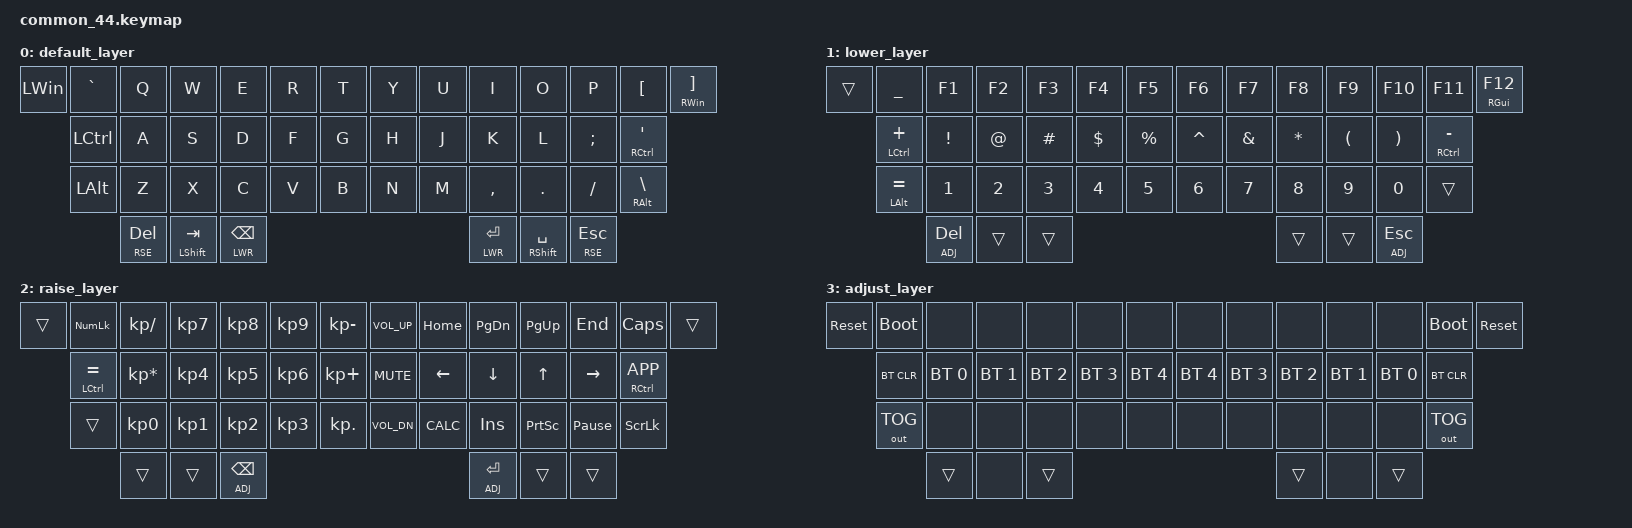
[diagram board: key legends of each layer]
/*
 * Copyright (c) 2020 The ZMK Contributors
 *
 * SPDX-License-Identifier: MIT
 */

#include <behaviors.dtsi>
#include <dt-bindings/zmk/keys.h>
#include <dt-bindings/zmk/bt.h>
#include <dt-bindings/zmk/outputs.h>

#define DEF 0
#define LWR 1
#define RSE 2
#define ADJ 3

&lt { quick-tap-ms = <200>; };
&mt { quick-tap-ms = <200>; };

/ {
        keymap {
                compatible = "zmk,keymap";

                default_layer {
// -----------------------------------------------------------------------------------------
// |  GUI |   ~  |  Q  |  W  |  E  |  R  |  T  |   |  Y  |  U   |  I  |  O  |  P  |  [   | GUI/] |
//        | CTRL |  A  |  S  |  D  |  F  |  G  |   |  H  |  J   |  K  |  L  |  ;  |CTRL/'|
//        | LALT |  Z  |  X  |  C  |  V  |  B  |   |  N  |  M   |  ,  |  .  |  /  | RALT |
//                           | RSE | TAB | LWR |   | LWR |  SPC | RSE |
//                                        (BSPC)
                        bindings = <
   &kp LWIN &kp GRAVE &kp Q &kp W &kp E &kp R &kp T &kp Y         &kp U  &kp I     &kp O   &kp P    &kp LBKT &mt RWIN RBKT
            &kp LCTRL &kp A &kp S &kp D &kp F &kp G &kp H         &kp J  &kp K     &kp L   &kp SEMI &mt RCTRL SQT
            &kp LALT  &kp Z &kp X &kp C &kp V &kp B &kp N         &kp M  &kp COMMA &kp DOT &kp FSLH &mt RALT BSLH
                         &lt RSE DEL &mt LSHFT TAB &lt LWR BSPC &lt LWR RET &mt RSHFT SPACE &lt RSE ESC
                        >;
                };
                lower_layer {
// -----------------------------------------------------------------------------------------
// |     |  _  |  F1 |  F2 |  F3 |  F4 |  F5 |   |  F6 |  F7 |  F8 |  F9 | F10 | F11 | F12 |
//       |  +  |  !  |  @  |  #  |  $  |  %  |   |  ^  |  &  |  *  |  (  |  )  |  -  |
//       |  =  |  1  |  2  |  3  |  4  |  5  |   |  6  |  7  |  8  |  9  |  0  |     |
//                   |     |     |     |     |   |     |     |
                        bindings = <
   &trans &kp UNDER      &kp F1   &kp F2 &kp F3   &kp F4   &kp F5           &kp F6    &kp F7   &kp F8   &kp F9   &kp F10  &kp F11 &mt RGUI F12
          &mt LCTRL PLUS &kp EXCL &kp AT &kp HASH &kp DLLR &kp PRCNT        &kp CARET &kp AMPS &kp STAR &kp LPAR &kp RPAR &mt RCTRL MINUS
          &mt LALT EQUAL &kp N1   &kp N2 &kp N3   &kp N4   &kp N5           &kp N6    &kp N7   &kp N8   &kp N9   &kp N0   &trans
                                              &lt ADJ DEL &trans &trans   &trans &trans &lt ADJ ESC
                        >;
                };

                raise_layer {
// -----------------------------------------------------------------------------------------
// |     | NMLK |  /  |  7  |  8  |  9  |  -  |   | VOLU| HOME   | PGDN | PGUP | END  | CLCK |     |
//       | CTRL |  *  |  4  |  5  |  6  |  +  |   | MUT | LEFT   | DOWN | UP   | RGHT | APP  |
//       |      |  0  |  1  |  2  |  3  |  .  |   | VOLD| K_CALC | INS  | PRSC | PAUS | SCLK |
//                          |     |     | ADJ |   | ADJ |     |     |
                        bindings = <
   &trans &kp KP_NUM      &kp KP_SLASH    &kp KP_N7 &kp KP_N8 &kp KP_N9 &kp KP_MINUS        &kp C_VOL_UP &kp HOME &kp PG_DN &kp PG_UP &kp END &kp CAPS &trans
          &mt LCTRL EQUAL &kp KP_MULTIPLY &kp KP_N4 &kp KP_N5 &kp KP_N6 &kp KP_PLUS         &kp C_MUTE   &kp LEFT &kp DOWN  &kp UP &kp RIGHT  &mt RCTRL K_APP
          &trans          &kp KP_N0       &kp KP_N1 &kp KP_N2 &kp KP_N3 &kp KP_DOT          &kp C_VOL_DN &kp K_CALC  &kp INS  &kp PSCRN &kp PAUSE_BREAK &kp SLCK
                                                           &trans &trans &lt ADJ BSPC   &lt ADJ RET &trans &trans
                        >;
                };
                adjust_layer {
// -----------------------------------------------------------------------------------------
// | RST | BLDR |     |     |     |     |     |   |     |     |     |     |     | BLDR | RST |
//       | BTCLR| BT0 | BT1 | BT2 | BT3 | BT4 |   | BT4 | BT3 | BT2 | BT1 | BT0 | BTCLR|
//       |      |     |     |     |     |     |   |     |     |     |     |     |      |
//                          |     |     |     |   |     |     |     |
                        bindings = <
   &sys_reset &bootloader  &none        &none        &none        &none        &none              &none        &none        &none        &none        &none         &bootloader &sys_reset
              &bt BT_CLR   &bt BT_SEL 0 &bt BT_SEL 1 &bt BT_SEL 2 &bt BT_SEL 3 &bt BT_SEL 4       &bt BT_SEL 4 &bt BT_SEL 3 &bt BT_SEL 2 &bt BT_SEL 1 &bt BT_SEL 0  &bt BT_CLR
              &out OUT_TOG &none        &none        &none        &none        &none              &none        &none        &none        &none        &none         &out OUT_TOG
                                                                          &trans &none &trans   &trans &none &trans
                        >;
                };
        };
};
